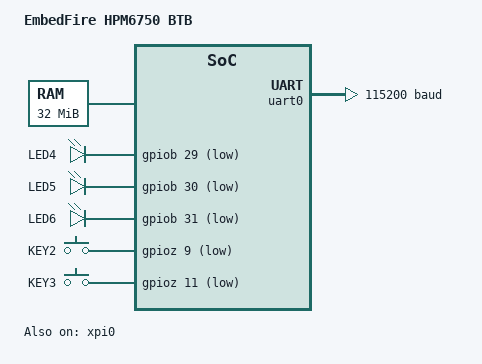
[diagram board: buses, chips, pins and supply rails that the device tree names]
/* SPDX-License-Identifier: Apache-2.0 */

/dts-v1/;

#include <hpmicro/hpm6750.dtsi>
#include "hpm6750_embedfire_btb-soc.dtsi"
#include "hpm6750_embedfire_btb-pinctrl.dtsi"
#include <zephyr/dt-bindings/display/panel.h>
#include <zephyr/dt-bindings/input/input-event-codes.h>

/ {
	model = "EmbedFire HPM6750 BTB";
	compatible = "hpmicro,hpm6750-embedfire-btb";

	aliases {
		led0 = &led4;
		led1 = &led5;
		led2 = &led6;
		sw0 = &key2;
		sw1 = &key3;
	};

	chosen {
		zephyr,console = &uart0;
		zephyr,shell-uart = &uart0;
		zephyr,sram = &dram;
		zephyr,flash = &flash0;
		zephyr,itcm = &ilm;
		zephyr,dtcm = &dlm;
		zephyr,code-partition = &slot0_partition;
		zephyr,flash-controller = &xpi0;
	};

	dram: memory@40000000 {
		device_type = "memory";
		reg = <0x40000000 DT_SIZE_M(32)>;
	};

	leds {
		compatible = "gpio-leds";

		led4: led_4 {
			gpios = <&gpiob 29 (GPIO_PULL_UP | GPIO_ACTIVE_LOW)>;
			label = "LED4";
		};

		led5: led_5 {
			gpios = <&gpiob 30 (GPIO_PULL_UP | GPIO_ACTIVE_LOW)>;
			label = "LED5";
		};

		led6: led_6 {
			gpios = <&gpiob 31 (GPIO_PULL_UP | GPIO_ACTIVE_LOW)>;
			label = "LED6";
		};
	};

	gpio_keys {
		compatible = "gpio-keys";

		key2: key_2 {
			gpios = <&gpioz 9 (GPIO_PULL_UP | GPIO_ACTIVE_LOW)>;
			label = "KEY2";
			zephyr,code = <INPUT_KEY_0>;
		};

		key3: key_3 {
			gpios = <&gpioz 11 (GPIO_PULL_UP | GPIO_ACTIVE_LOW)>;
			label = "KEY3";
			zephyr,code = <INPUT_KEY_1>;
		};
	};

	/* KEY1 is wired to the dedicated PBUTN input, not to a GPIO. */

	panels {
		panel_rgb: panel_rgb {
			compatible = "hpmicro,hpm-display-rgb";
			panel_name = "embedfire-rgb-800x480";
			width = <800>;
			height = <480>;
			pixel_clock_khz = <33000>;
			hactive = <800>;
			hfront_porch = <40>;
			hback_porch = <88>;
			hsync_len = <48>;
			hsync_pol = <0>;
			vactive = <480>;
			vfront_porch = <13>;
			vback_porch = <32>;
			vsync_len = <3>;
			vsync_pol = <0>;
			de_pol = <0>;
			pixel_clk_pol = <0>;
			pixel-format = <PANEL_PIXEL_FORMAT_RGB_565>;
			status = "disabled";
		};
	};

	video {
		video_ov2640: video_ov2640 {
			compatible = "hpmicro,hpm-video";
			video_count = <1>;
			sensor = <&ov2640>;
			camera = <&camera0>;
			status = "disabled";
		};

		video_ov5640: video_ov5640 {
			compatible = "hpmicro,hpm-video";
			video_count = <1>;
			sensor = <&ov5640>;
			camera = <&camera0>;
			status = "disabled";
		};
	};
};

&rgb0 {
	endpoint_in = <&lcdc0>;
};

&panel_rgb {
	endpoint_in = <&rgb0>;
	pinctrl-0 = <&pinmux_rgb>;
	pinctrl-names = "default";
	backlight-gpios = <&gpiob 23 GPIO_ACTIVE_HIGH>;
	status = "disabled";
};

&uart0 {
	status = "okay";
	current-speed = <115200>;
	pinctrl-0 = <&pinmux_uart0>;
	pinctrl-names = "default";
	uart-idle-trgm-reg = <0xF022C000>;
	uart-idle-trgm-pin = <115>;
	uart-idle-trgm-input-src = <0x0B>;
	uart-idle-trgm-output-gptmr-in = <0x38>;
	uart-idle-trgm-output-gptmr-sync = <0x37>;
	uart-idle-gptmr-reg = <0xF3010000>;
	uart-idle-gptmr-clock-name = <18743311>;
	dmas = <&hdma 0 8>, <&hdma 1 9>;
	dma-names = "rx", "tx";
};

&gpiob {
	pinctrl-0 = <&pinmux_gpiob>;
	pinctrl-names = "default";
	status = "okay";
};

&gpioa {
	status = "okay";
};

&gpiod {
	status = "okay";
};

&gpioe {
	status = "okay";
};

&gpiof {
	status = "okay";
};

&gpioz {
	pinctrl-0 = <&pinmux_gpioz_keys>;
	pinctrl-names = "default";
	status = "okay";
};

&hdma {
	status = "okay";
};

&i2c0 {
	clock-frequency = <I2C_BITRATE_STANDARD>;
	pinctrl-0 = <&pinmux_i2c0>;
	pinctrl-names = "default";
	status = "disabled";

	touch_rgb: gt911@5d {
		compatible = "goodix,gt911";
		reg = <0x5d>;
		irq-gpios = <&gpiob 8 GPIO_ACTIVE_HIGH>;
		reset-gpios = <&gpiob 9 GPIO_ACTIVE_LOW>;
		status = "disabled";
	};
};

&i2c3 {
	clock-frequency = <I2C_BITRATE_STANDARD>;
	pinctrl-0 = <&pinmux_i2c3>;
	pinctrl-names = "default";
	status = "disabled";

	ov2640: camera@30 {
		compatible = "ovti,ov2640";
		reg = <0x30>;
		reset-gpios = <&gpioe 5 GPIO_ACTIVE_LOW>;
		status = "disabled";
	};

	ov5640: camera@3c {
		compatible = "ovti,ov5640";
		reg = <0x3c>;
		reset-gpios = <&gpioe 5 GPIO_ACTIVE_LOW>;
		powerdown-gpios = <&gpioe 0 GPIO_ACTIVE_HIGH>;
		status = "disabled";
	};
};

&camera0 {
	interface = "dvp";
	pinctrl-0 = <&pinmux_dvp0>;
	pinctrl-names = "default";
	pixclk_sampling_falling = <0>;
	hsync_active_low = <0>;
	vsync_active_low = <0>;
	status = "disabled";
};

&eth0 {
	pinctrl-0 = <&pinmux_eth0_rmii>;
	pinctrl-names = "default";
	phy-addr = <0>;
	reset-gpios = <&gpioe 29 GPIO_ACTIVE_LOW>;
	status = "disabled";
};

&eth1 {
	pinctrl-0 = <&pinmux_eth1_rmii>;
	pinctrl-names = "default";
	phy-addr = <0>;
	reset-gpios = <&gpioe 24 GPIO_ACTIVE_LOW>;
	status = "disabled";
};

&xpi0 {
	status = "okay";

	flash0: flash@0 {
		compatible = "hpmicro,hpmicro-flash", "soc-nv-flash";
		reg = <0x80000000 DT_SIZE_M(32)>;
		status = "okay";
		erase-block-size = <4096>;
		write-block-size = <1>;
		nor-cfg-opt-hdr = <0xfcf90002>;
		nor-cfg-opt-opt0 = <0x07>;
		nor-cfg-opt-opt1 = <0xe>;

		partitions {
			compatible = "fixed-partitions";
			#address-cells = <1>;
			#size-cells = <1>;

			boot_partition: partition@0 {
				label = "mcuboot";
				reg = <0x3000 0x40000>;
			};

			slot0_partition: partition@43000 {
				label = "image-0";
				reg = <0x43000 DT_SIZE_M(4)>;
			};

			slot1_partition: partition@443000 {
				label = "image-1";
				reg = <0x443000 DT_SIZE_M(4)>;
			};

			scratch_partition: partition@843000 {
				label = "image-scratch";
				reg = <0x843000 DT_SIZE_K(128)>;
			};

			storage_partition: partition@863000 {
				label = "storage";
				reg = <0x863000 0x179d000>;
			};
		};
	};
};

